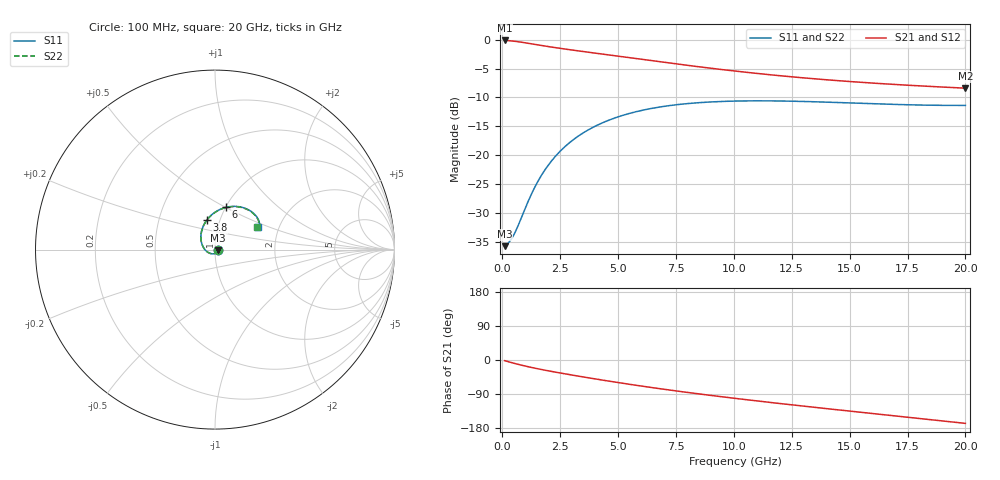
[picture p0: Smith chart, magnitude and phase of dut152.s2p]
! Touchstone file exported from HFSS 2023.1.0
!  File:  D:/Users/fzz/RDL_TSV/temp_RDL_TSV_152_1778753077.aedt
!  Generated:  6:12:19 %x4E0B%x5348  5%x6708 14, 2026
!  Design:  RDL_TSV
!  Project:  temp_RDL_TSV_152_1778753077
!  Setup:  Setup1
!  Solution:  Sweep
! Variables:
!  dtsv = 20.08um
!  hbump = 3um
!  htsv = 57.65um
!  ldown = 341.27um
!  lrdl = 287.69um
!  p = 40
!  p1 = 57.19um
!  rhole = 10um
!  subl = 2174.57um
!  t = 450um
!  tdown = 2.19um
!  trdl = 4.44um
!  viad = 10um
!  wdown = 12.76um
!  wrdl = 27.7um
!  xbump = 18um
# GHz S MA R 50.000000
! Terminal data exported
! Port[1] = TM1_1_T1
! Port[2] = TM1_4_T1
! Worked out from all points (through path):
!   200 points, 100 MHz to 20 GHz, reference 50 ohm
!   highest |S21| = -0.15 dB at 100 MHz (marker M1); lowest = -8.4 dB at 20 GHz (marker M2)
!   group delay of S21, straight-line fit = 21.8 ps
!   lowest |S11| = -35.7 dB at 100 MHz (marker M3), VSWR 1.03, Z = 51.6 - j0.469 ohm
!   |S11| at or under -10 dB: start of sweep to end of sweep
!   |S22| runs from -35.7 to -10.6 dB; largest |S21 - S12| = 1.6e-14
!   S11 on the Smith chart (normalised r, x): 100 MHz: 1.03, -0.01; 3.8 GHz: 0.87, +0.29; 6 GHz: 1.01, +0.50; 20 GHz: 1.55, +0.43
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0.1  0.01644 -16.1  0.983 -1.8  0.983 -1.8  0.01644 -16.1
! Gamma 0 0 0 0
! Port Impedance 50 0 50 0
0.3  0.01788 -49.7  0.9777 -5.2  0.9777 -5.2  0.01789 -49.7
0.5  0.02063 -82.3  0.9689 -8.5  0.9689 -8.5  0.02065 -82.2
0.9  0.03155 -134.5  0.9446 -14.7  0.9446 -14.7  0.03154 -134.3
1.3  0.04821 -168.9  0.9165 -20.2  0.9165 -20.2  0.04812 -168.8
1.6  0.0627 172.7  0.8956 -24.0  0.8956 -24.0  0.06254 172.8
1.9  0.07793 158.2  0.8758 -27.6  0.8758 -27.6  0.07769 158.3
2.2  0.09337 146.3  0.8573 -31.0  0.8573 -31.0  0.09305 146.4
2.6  0.1137 133.4  0.8345 -35.4  0.8345 -35.4  0.1133 133.5
3  0.1334 122.8  0.8133 -39.6  0.8133 -39.6  0.1329 122.9
3.5  0.1567 111.7  0.7883 -44.8  0.7883 -44.8  0.156 111.8
3.8  0.1698 105.9  0.7739 -47.8  0.7739 -47.8  0.169 106.0
4.8  0.2084 89.9  0.7279 -57.6  0.7279 -57.6  0.2074 89.9
6  0.2441 75.1  0.676 -68.7  0.676 -68.7  0.2428 75.1
6.8  0.2617 67.1  0.6437 -75.7  0.6437 -75.7  0.2602 67.1
8.4  0.2844 54.3  0.5854 -88.8  0.5854 -88.8  0.2827 54.2
10.1  0.2946 44.2  0.5335 -101.6  0.5335 -101.6  0.2927 44.1
11.7  0.2955 37.2  0.4938 -112.9  0.4938 -112.9  0.2935 37.2
13.4  0.2908 32.1  0.46 -124.3  0.46 -124.3  0.2887 32.0
15  0.2839 29.0  0.4344 -134.9  0.4344 -134.9  0.2818 28.9
16.7  0.2765 27.4  0.4125 -145.9  0.4125 -145.9  0.2743 27.4
20  0.2703 28.1  0.3807 -167.2  0.3807 -167.2  0.2682 28.2
